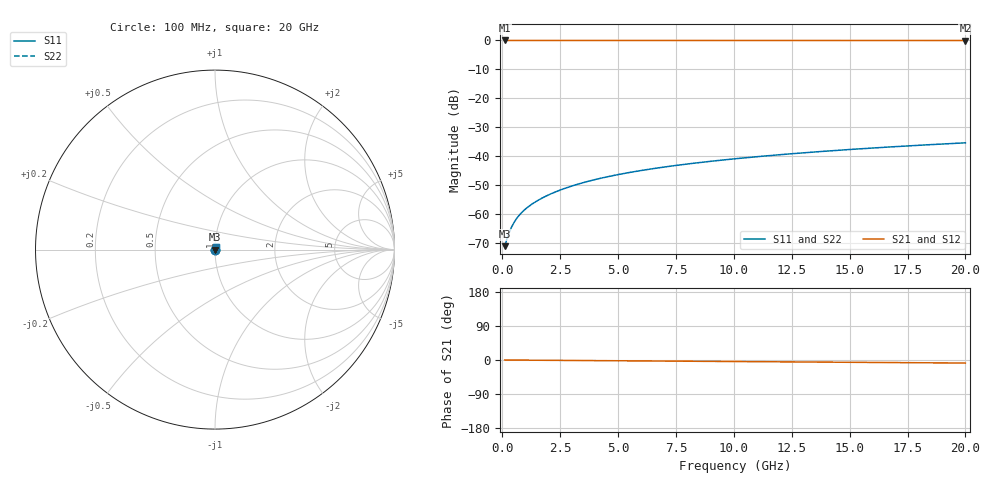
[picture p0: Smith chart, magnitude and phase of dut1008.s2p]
! Touchstone file exported from HFSS 2026.1.0
!  File:  C:/ffzhzh/LocalFiles/Ansys_Project_Files/temp_train_TSV_1008_1783188560_55132.aedt
!  Generated:  02:11:11 AM Jul  5, 2026
!  Design:  TSV
!  Project:  temp_train_TSV_1008_1783188560_55132
! Variables:
!  h_bsmrdl = 2um
!  h_ox = 20um
!  h_rdl = 5um
!  h_sub = 82.46um
!  h_tmrdl = 5um
!  h_tsv = 82.46um
!  h_via = 3um
!  l_bsmrdl = 300um
!  l_sub = 413.62um
!  l_tmrdl = 200um
!  m_sub = 200um
!  pitch = 32.2um
!  r_tsv = 6.81um
!  s_tmrdl = 10um
!  w_bsmrdl = 18um
!  w_sub = 500um
!  w_tmrdl = 12um
!  x_tsv_center1 = 206um
!  x_tsv_center2 = 524um
!  x_tsv_center3 = 736um
!  x_tsv_center4 = 1054um
!  x_tsv_center5 = 1266um
!  x_tsv_center6 = 1584um
# GHz S MA R 50.000000
! Terminal data exported
! Port[1] = TSV1_1_T1
! Port[2] = TSV1_1_T2
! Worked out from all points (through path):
!   200 points, 100 MHz to 20 GHz, reference 50 ohm
!   highest |S21| = 0.00 dB at 100 MHz (marker M1); lowest = 0.0 dB at 20 GHz (marker M2)
!   group delay of S21, straight-line fit = 1.11 ps
!   lowest |S11| = -71.1 dB at 100 MHz (marker M3), VSWR 1.00, Z = 50 + j0.0134 ohm
!   |S11| at or under -10 dB: start of sweep to end of sweep
!   |S22| runs from -71.1 to -35.4 dB; largest |S21 - S12| = 4.5e-15
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0.1  0.000277 28.9  0.9998 -0.0  0.9998 -0.0  0.000277 28.9
! Gamma 0 0 0 0
! Port Impedance 50 0 50 0
0.2  0.0003678 46.0  0.9997 -0.1  0.9997 -0.1  0.0003678 46.0
0.3  0.0004777 54.9  0.9997 -0.1  0.9997 -0.1  0.0004777 54.9
0.4  0.0005915 59.7  0.9997 -0.2  0.9997 -0.2  0.0005915 59.7
0.5  0.0007037 62.5  0.9997 -0.2  0.9997 -0.2  0.0007037 62.5
0.6  0.0008124 64.4  0.9997 -0.3  0.9997 -0.3  0.0008124 64.4
0.8  0.001019 66.8  0.9996 -0.3  0.9996 -0.3  0.001019 66.8
1.1  0.001309 69.2  0.9995 -0.5  0.9995 -0.5  0.001309 69.2
1.5  0.00168 71.4  0.9995 -0.6  0.9995 -0.6  0.00168 71.4
1.8  0.001953 72.7  0.9994 -0.7  0.9994 -0.7  0.001953 72.7
2.1  0.002226 73.7  0.9994 -0.9  0.9994 -0.9  0.002226 73.7
2.7  0.002768 75.2  0.9993 -1.1  0.9993 -1.1  0.002768 75.2
3.5  0.003483 76.3  0.9992 -1.4  0.9992 -1.4  0.003483 76.3
4.2  0.004098 76.8  0.9992 -1.7  0.9992 -1.7  0.004098 76.8
5  0.00479 77.2  0.9991 -2.0  0.9991 -2.0  0.00479 77.2
5.9  0.005556 77.5  0.999 -2.4  0.999 -2.4  0.005556 77.5
6.8  0.006312 77.7  0.9989 -2.8  0.9989 -2.8  0.006312 77.7
8.3  0.007557 77.8  0.9988 -3.4  0.9988 -3.4  0.007557 77.8
10.1  0.009035 77.8  0.9987 -4.1  0.9987 -4.1  0.009035 77.8
13.4  0.01172 77.5  0.9985 -5.4  0.9985 -5.4  0.01172 77.5
16.7  0.01437 76.8  0.9983 -6.7  0.9983 -6.7  0.01437 76.8
20  0.01697 75.9  0.9981 -8.0  0.9981 -8.0  0.01697 75.9
